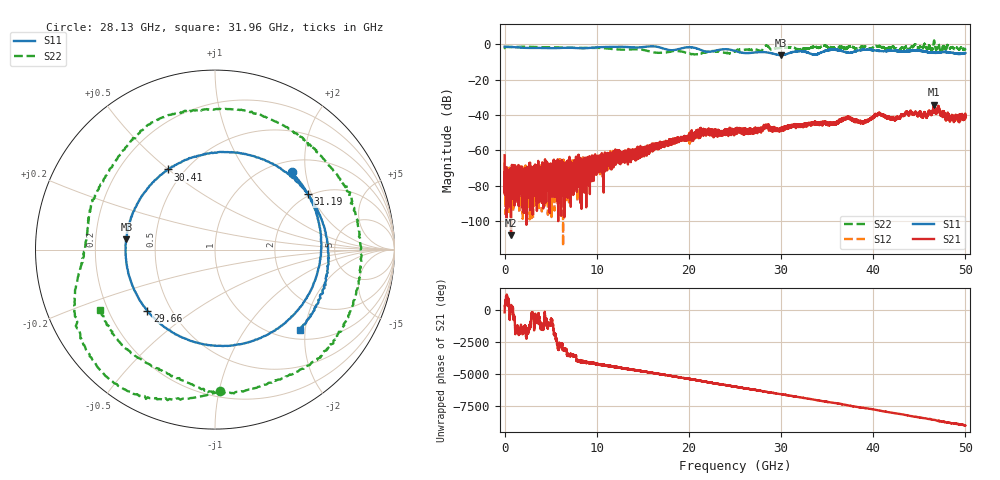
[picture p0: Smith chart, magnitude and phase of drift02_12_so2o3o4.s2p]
!Created with skrf (http://scikit-rf.org).
# Hz S RI R 50.0
!freq ReS11 ImS11 ReS21 ImS21 ReS12 ImS12 ReS22 ImS22
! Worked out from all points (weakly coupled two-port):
!   10001 points, 300 kHz to 50 GHz, reference 50 ohm
!   highest |S21| = -34.12 dB at 46.61 GHz (marker M1); lowest = -108.3 dB at 695.3 MHz (marker M2)
!   lowest |S11| = -6.1 dB at 30.02 GHz (marker M3), VSWR 2.98, Z = 16.9 + j2.55 ohm
!   |S11| at or under -10 dB: nowhere
!   |S22| runs from -5.7 to 2.3 dB; largest |S21 - S12| = 0.003
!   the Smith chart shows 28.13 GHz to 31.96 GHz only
!   S11 on the Smith chart (normalised r, x): 28.13 GHz: 1.23, +1.68; 29.66 GHz: 0.37, -0.34; 30.41 GHz: 0.41, +0.50; 31.19 GHz: 1.94, +1.88; 31.96 GHz: 1.20, -1.87
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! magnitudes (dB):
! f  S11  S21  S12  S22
! 300 kHz  -1.3  -62.9  -67.0  -2.0
! 255.3 MHz  -1.4  -82.9  -73.1  -1.4
! 695.3 MHz  -1.4  -108.3  -85.2  -1.5
! 5.055 GHz  -2.1  -70.1  -71.2  -1.6
! 8.335 GHz  -2.2  -67.8  -68.8  -1.9
! 16.67 GHz  -1.5  -58.8  -58.3  -4.8
! 21.45 GHz  -3.5  -50.9  -50.3  -4.8
! 25 GHz  -3.7  -49.1  -48.3  -3.9
! 28.13 GHz  -4.3  -45.6  -46.9  -2.1
! 29.66 GHz  -5.9  -48.0  -49.1  -2.1
! 30.02 GHz  -6.1  -48.2  -47.8  -2.1
! 30.41 GHz  -5.7  -47.6  -47.0  -1.9
! 31.19 GHz  -4.4  -46.5  -46.7  -1.8
! 31.96 GHz  -3.7  -45.8  -46.2  -2.8
! 33.34 GHz  -5.5  -44.9  -45.1  -1.6
! 37.27 GHz  -4.7  -41.0  -41.6  -1.5
! 38.87 GHz  -3.0  -44.8  -44.8  -1.3
! 40.59 GHz  -3.6  -39.1  -38.8  -1.0
! 41.67 GHz  -3.6  -41.2  -41.1  -1.9
! 46.61 GHz  -4.7  -34.1  -34.9  2.3
! 48.09 GHz  -4.3  -39.4  -39.8  -0.6
! 50 GHz  -4.9  -41.0  -39.9  -2.6
